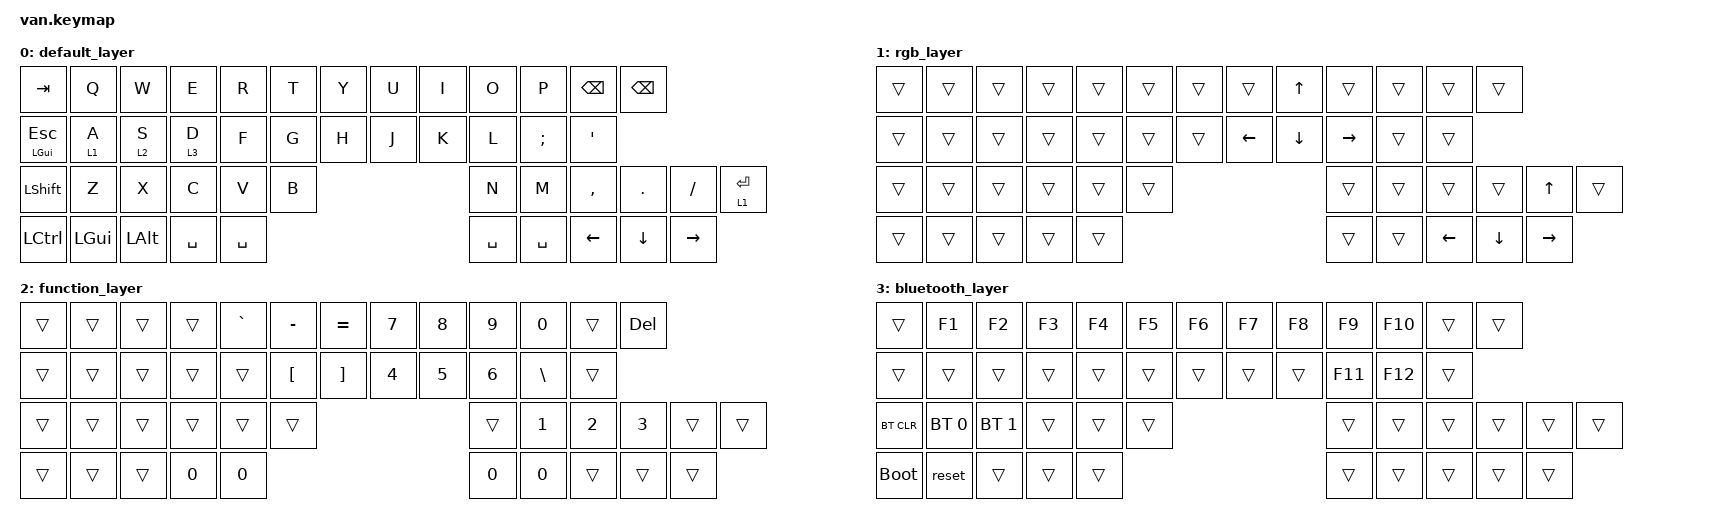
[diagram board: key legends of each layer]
/*
 * Copyright (c) 2021 Nick Winans
 *
 * SPDX-License-Identifier: MIT
 */

#include <behaviors.dtsi>
#include <dt-bindings/zmk/keys.h>
#include <dt-bindings/zmk/rgb.h>
#include <dt-bindings/zmk/bt.h>

/ {
	keymap {
		compatible = "zmk,keymap";

		default_layer {
// ------------------------------------------------------------------------------------------
// | ESC |  1  |  2  |  3  |  4  |  5  |  6  |  7  |  8  |  9  |  0  |  -  |  =  |   BKSP   |
// | TAB  |  Q  |  W  |  E  |  R  |  T  |  Y  |  U  |  I  |  O  |  P  |  [  |  ]  |   "|"   |
// | CAPS  |  A  |  S  |  D  |  F  |  G  |  H  |  J  |  K  |  L  |  ;  |  '  |     ENTER    |
// |  SHIFT  |  Z  |  X  |  C  |  V  |  B  |  N  |  M  |  ,  |  .  |  /  |      SHIFT       |
// |  CTL  |  WIN  |  ALT  |            SPACE              |  ALT  |  WIN  |  MO(1) |  CTL  |
// ------------------------------------------------------------------------------------------
			bindings = <
	&kp TAB  &kp Q  &kp W  &kp E  &kp R  &kp T  &kp Y  &kp U  &kp I  &kp O  &kp P  &kp BSPC &kp BSPC
	&mt LGUI ESC &lt 1 A  &lt 2 S  &lt 3 D  &kp F  &kp G  &kp H  &kp J  &kp K  &kp L  &kp SEMI &kp SQT           
	&kp LSHFT   &kp Z  &kp X  &kp C  &kp V  &kp B  &kp N  &kp M  &kp COMMA &kp DOT &kp FSLH           &lt 1 RET
	&kp LCTRL &kp LGUI &kp LALT &kp SPACE &kp SPACE &kp SPACE     &kp SPACE      &kp LEFT  &kp DOWN  &kp RIGHT  
			>;
		};

		rgb_layer {
// ------------------------------------------------------------------------------------------------
// | BT CLR | F1  | F2  | F3  | F4  | F5  | F6  | F7  | F8  | F9  | F10  | F11 | F12 | EFFECT REV |
// |  BT 1   |   |  UP |   | HUEUP | SATUP | BRIUP | SPDUP |   |     |    |     |     |           |
// |   BT 2   | LT |  DN  | RT | HUEDN | SATDN | BRIDN | SPDDN |   |     |   |     |  EFFECT FORW |
// |    BT 3     |     |      |      |     |     |     |     |     |     |     |                  |
// |   BT 4  |      |      |             TOG RGB                | PRT SCR |       |       |  DEL  |
// ------------------------------------------------------------------------------------------------
			bindings = <
	&trans &trans  &trans  &trans  &trans &trans &trans  &trans &kp UP  &trans  &trans  &trans &trans
	&trans  &trans  &trans  &trans  &trans  &trans  &trans  &kp LEFT  &kp DOWN  &kp RIGHT  &trans &trans          
	&trans   &trans &trans  &trans  &trans  &trans  &trans &trans  &trans &trans &kp UP          &trans
	&trans &trans &trans    &trans &trans &trans         &trans                   &kp LEFT  &kp DOWN  &kp RIGHT 
			>;
		};

		function_layer {
// ------------------------------------------------------------------------------------------------
// | BT CLR | F1  | F2  | F3  | F4  | F5  | F6  | F7  | F8  | F9  | F10  | F11 | F12 | EFFECT REV |
// |  BT 1   |   |  UP |   | HUEUP | SATUP | BRIUP | SPDUP |   |     |    |     |     |           |
// |   BT 2   | LT |  DN  | RT | HUEDN | SATDN | BRIDN | SPDDN |   |     |   |     |  EFFECT FORW |
// |    BT 3     |     |      |      |     |     |     |     |     |     |     |                  |
// |   BT 4  |      |      |             TOG RGB                | PRT SCR |       |       |  DEL  |
// ------------------------------------------------------------------------------------------------
			bindings = <
	&trans  &trans  &trans  &trans  &kp GRAVE  &kp MINUS  &kp EQUAL  &kp N7  &kp N8  &kp N9  &kp N0  &trans &kp DEL
	&trans   &trans  &trans  &trans  &trans  &kp LBKT  &kp RBKT  &kp N4  &kp N5  &kp N6  &kp BSLH &trans          
	&trans    &trans &trans  &trans  &trans  &trans  &trans &kp N1  &kp N2  &kp N3 &trans          &trans
	&trans &trans &trans  &kp N0 &kp N0 &kp N0          &kp N0                     &trans  &trans  &trans 
			>;
		};
		
		bluetooth_layer {
// ------------------------------------------------------------------------------------------------
// | BT CLR | F1  | F2  | F3  | F4  | F5  | F6  | F7  | F8  | F9  | F10  | F11 | F12 | EFFECT REV |
// |  BT 1   |   |  UP |   | HUEUP | SATUP | BRIUP | SPDUP |   |     |    |     |     |           |
// |   BT 2   | LT |  DN  | RT | HUEDN | SATDN | BRIDN | SPDDN |   |     |   |     |  EFFECT FORW |
// |    BT 3     |     |      |      |     |     |     |     |     |     |     |                  |
// |   BT 4  |      |      |             TOG RGB                | PRT SCR |       |       |  DEL  |
// ------------------------------------------------------------------------------------------------
			bindings = <
	&trans  &kp F1  &kp F2  &kp F3  &kp F4  &kp F5  &kp F6  &kp F7  &kp F8  &kp F9  &kp F10  &trans &trans
	&trans  &trans  &trans  &trans  &trans  &trans  &trans  &trans  &trans  &kp F11  &kp F12 &trans          	
	&bt BT_CLR   &bt BT_SEL 0 &bt BT_SEL 1  &trans  &trans  &trans  &trans &trans  &trans &trans &trans          &trans
	&bootloader &reset &trans    &trans &trans &trans         &trans                     &trans  &trans  &trans 
			>;
		};
	};
};
